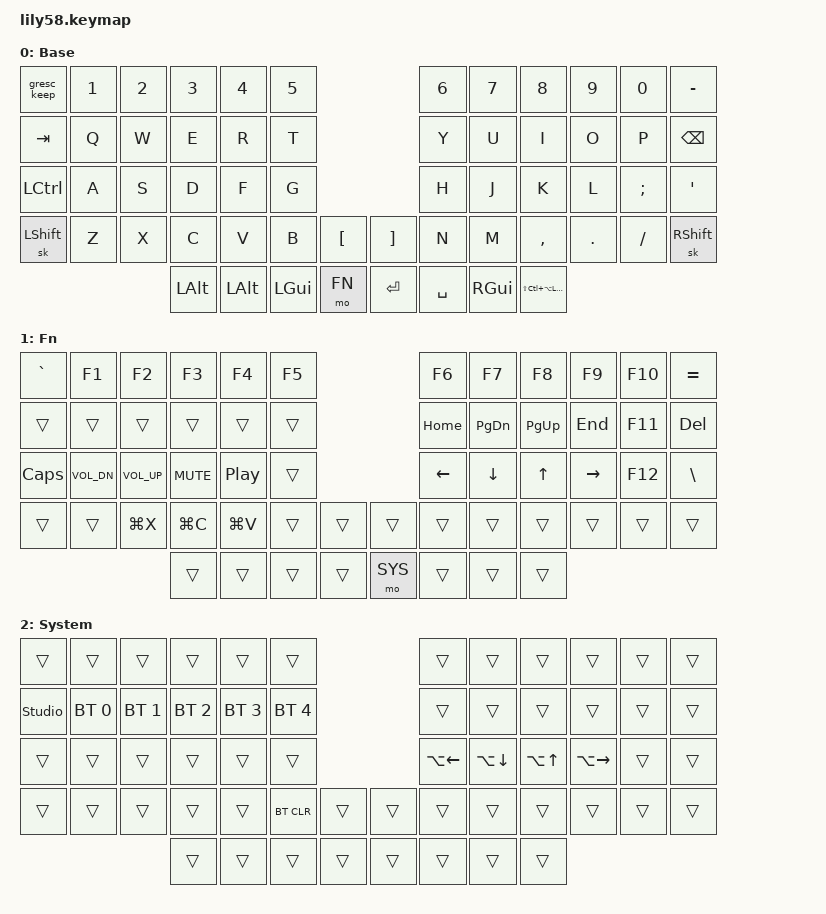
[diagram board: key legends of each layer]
/*
 * Joel's Lily58 — HHKB-ish on a split.
 * One Fn, on the left inner thumb. Hold Fn, then also hold Enter (right inner thumb)
 * for the System layer: Bluetooth profiles, BT clear, Studio unlock. Kept off the Fn
 * layer so they can't be hit by accident.
 * Mac-oriented: Opt/Cmd on the thumbs. Anything here can be changed live in ZMK Studio
 * (https://zmk.studio) with the left half plugged in over USB; unlock with Fn+Enter+Tab.
 */

#include <behaviors.dtsi>
#include <dt-bindings/zmk/bt.h>
#include <dt-bindings/zmk/keys.h>

#define BASE 0
#define FN   1
#define SYS  2

// Hyper = Shift+Ctrl+Opt+Cmd, held for as long as the key is held, so Hyper+letter
// works like any other modifier chord. Matches Raycast's Hyper Key, but built into the
// board so it works on any machine without Raycast remapping Right Opt.
#define HYPER LS(LC(LA(LGUI)))

/ {
    behaviors {
        // Like ZMK's built-in &gresc (Esc normally, ` with Cmd or Shift held), but
        // keep-mods passes Cmd/Shift through instead of masking them. The built-in one
        // briefly releases Cmd while it sends `, which closes the Cmd-Tab switcher, and
        // drops Shift, so Shift+key gave ` instead of ~.
        gresc_keep: grave_escape_keep_mods {
            compatible = "zmk,behavior-mod-morph";
            #binding-cells = <0>;
            bindings = <&kp ESC>, <&kp GRAVE>;
            mods = <(MOD_LGUI|MOD_LSFT|MOD_RGUI|MOD_RSFT)>;
            keep-mods = <(MOD_LGUI|MOD_LSFT|MOD_RGUI|MOD_RSFT)>;
        };
    };

    keymap {
        compatible = "zmk,keymap";

        base {
            display-name = "Base";

            // | ESC   |  1  |  2  |  3  |  4  |  5  |                 |  6  |  7  |  8  |  9  |  0  |  -    |
            // | TAB   |  Q  |  W  |  E  |  R  |  T  |                 |  Y  |  U  |  I  |  O  |  P  | BSPC  |
            // | CTRL  |  A  |  S  |  D  |  F  |  G  |                 |  H  |  J  |  K  |  L  |  ;  |  '    |
            // | SHIFT |  Z  |  X  |  C  |  V  |  B  |  [  |     |  ]  |  N  |  M  |  ,  |  .  |  /  | SHIFT |
            //                   | OPT | OPT | CMD |  FN   |     | ENTER |SPACE| CMD |HYPER|
            // Left thumb rests on CMD, mirroring SPACE on the right.

            bindings = <
&gresc_keep &kp N1  &kp N2  &kp N3    &kp N4    &kp N5                              &kp N6     &kp N7    &kp N8     &kp N9   &kp N0    &kp MINUS
&kp TAB    &kp Q   &kp W   &kp E     &kp R     &kp T                               &kp Y      &kp U     &kp I      &kp O    &kp P     &kp BSPC
&kp LCTRL  &kp A   &kp S   &kp D     &kp F     &kp G                               &kp H      &kp J     &kp K      &kp L    &kp SEMI  &kp SQT
&sk LSHFT  &kp Z   &kp X   &kp C     &kp V     &kp B         &kp LBKT    &kp RBKT  &kp N      &kp M     &kp COMMA  &kp DOT  &kp FSLH  &sk RSHFT
                           &kp LALT  &kp LALT  &kp LGUI      &mo FN      &kp RET   &kp SPACE  &kp RGUI  &kp HYPER
            >;
        };

        fn {
            display-name = "Fn";

            // |   `    | F1  | F2  | F3  | F4  | F5  |                 | F6  | F7  | F8  | F9  | F10 |  =    |
            // |        |     |     |     |     |     |                 | HOME| PGDN| PGUP| END | F11 | DEL   |
            // | CAPS   | VOL-| VOL+| MUTE| PLAY|     |                 |  ←  |  ↓  |  ↑  |  →  | F12 |  \    |
            // |        |     | CUT | COPY|PASTE|     |     |     |     |     |     |     |     |     |       |
            //                   |     |     |     |       |     |  SYS  |     |     |     |

            bindings = <
&kp GRAVE  &kp F1        &kp F2        &kp F3      &kp F4     &kp F5                     &kp F6    &kp F7     &kp F8     &kp F9     &kp F10  &kp EQUAL
&trans     &trans        &trans        &trans      &trans     &trans                     &kp HOME  &kp PG_DN  &kp PG_UP  &kp END    &kp F11  &kp DEL
&kp CAPS   &kp C_VOL_DN  &kp C_VOL_UP  &kp C_MUTE  &kp C_PP   &trans                     &kp LEFT  &kp DOWN   &kp UP     &kp RIGHT  &kp F12  &kp BSLH
&trans     &trans        &kp LG(X)     &kp LG(C)   &kp LG(V)  &trans  &trans    &trans   &trans    &trans     &trans     &trans     &trans   &trans
                                       &trans      &trans     &trans  &trans    &mo SYS  &trans    &trans     &trans
            >;
        };

        sys {
            display-name = "System";

            // Reached by holding Fn, then Enter.
            // |        |     |     |     |     |     |                 |     |     |     |     |     |       |
            // | STUDIO | BT0 | BT1 | BT2 | BT3 | BT4 |                 |     |     |     |     |     |       |
            // |        |     |     |     |     |     |                 |     |     |     |     |     |       |
            // |        |     |     |     |     |BTCLR|     |     |     |     |     |     |     |     |       |
            //                   |     |     |     |       |     |       |     |     |     |

            bindings = <
&trans          &trans        &trans        &trans        &trans        &trans                          &trans        &trans        &trans            &trans         &trans  &trans
&studio_unlock  &bt BT_SEL 0  &bt BT_SEL 1  &bt BT_SEL 2  &bt BT_SEL 3  &bt BT_SEL 4                    &trans        &trans        &trans            &trans         &trans  &trans
&trans          &trans        &trans        &trans        &trans        &trans                          &kp LA(LEFT)  &kp LA(DOWN)  &kp LA(UP_ARROW)  &kp LA(RIGHT)  &trans  &trans
&trans          &trans        &trans        &trans        &trans        &bt BT_CLR    &trans    &trans  &trans        &trans        &trans            &trans         &trans  &trans
                                            &trans        &trans        &trans        &trans    &trans  &trans        &trans        &trans
            >;
        };
    };
};
